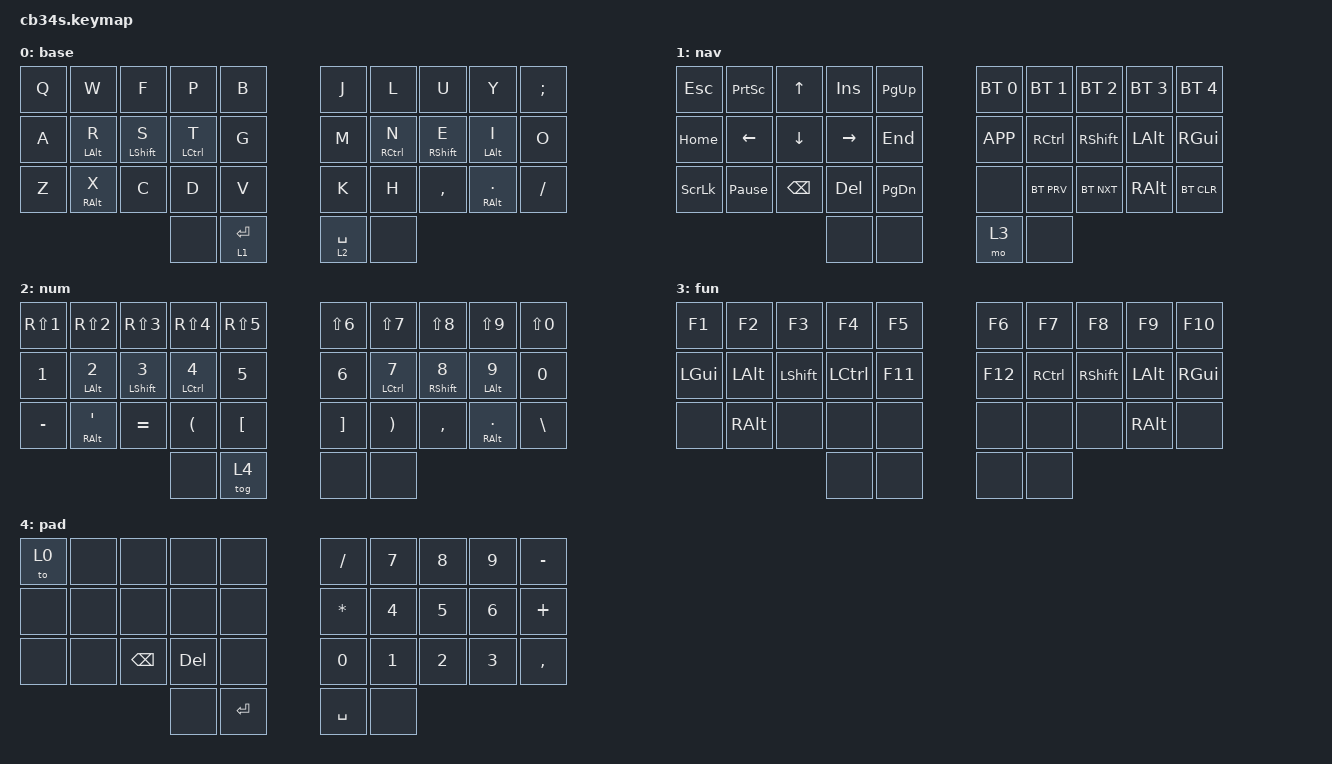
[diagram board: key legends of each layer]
/*
 * Copyright (c) 2020 The ZMK Contributors
 *
 * SPDX-License-Identifier: MIT
 */

#include <behaviors.dtsi>
#include <dt-bindings/zmk/keys.h>
#include <dt-bindings/zmk/bt.h>


// Using layer taps on thumbs, having quick tap as well helps w/ repeating space/backspace

&lt {
    quick_tap_ms = <200>;
};

// Sticky Layer Behavior - release sticky behavior after x ms

/*&sk {
    release-after-ms = <1800>;
};
*/

    // BEHAVIOR    
    // ===========================================================================================================

/ {
    behaviors {
        bhm: balanced_homerow_mods {
            compatible = "zmk,behavior-hold-tap";
            label = "HOMEROW_MODS";
            #binding-cells = <2>;
            tapping-term-ms = <150>;
            quick-tap-ms = <0>;
            flavor = "balanced";
            bindings = <&kp>, <&kp>;
        };
        hmls: homerow_mod_lshift {
            compatible = "zmk,behavior-hold-tap";
            label = "HOMEROW_MODS";
            #binding-cells = <2>;
            tapping-term-ms = <150>;
            quick-tap-ms = <0>;
            flavor = "balanced";
            hold-trigger-key-positions = <5 6 7 8 9 15 16 17 18 19 25 26 27 28 29>;
            bindings = <&kp>, <&kp>;
        };
        hmrs: homerow_mod_rshift {
            compatible = "zmk,behavior-hold-tap";
            label = "HOMEROW_MODS";
            #binding-cells = <2>;
            tapping-term-ms = <150>;
            quick-tap-ms = <0>;
            flavor = "balanced";
            hold-trigger-key-positions = <0 1 2 3 4 10 11 12 13 14 20 21 22 23 24>;
            bindings = <&kp>, <&kp>;
        };
        hmg: homerow_mod_gui {
            compatible = "zmk,behavior-hold-tap";
            label = "HOMEROW_MODS";
            #binding-cells = <2>;
            tapping-term-ms = <500>;
            quick-tap-ms = <0>;
            flavor = "balanced";
            bindings = <&kp>, <&kp>;
        };
        hmla: homerow_mod_lalt {
            compatible = "zmk,behavior-hold-tap";
            label = "HOMEROW_MODS";
            #binding-cells = <2>;
            tapping-term-ms = <400>;
            quick-tap-ms = <0>;
            flavor = "balanced";
            bindings = <&kp>, <&kp>;
        };
        hmra: homerow_mod_ralt {
            compatible = "zmk,behavior-hold-tap";
            label = "HOMEROW_MODS";
            #binding-cells = <2>;
            tapping-term-ms = <800>;
            quick-tap-ms = <0>;
            flavor = "tap-preferred";
            bindings = <&kp>, <&kp>;
        };
    };
};

// MACROS
// ===========================================================================================================
/*
	.----------------------------------------------------------------------.
	|  0  |  1  |  2  |  3  |  4  |          |  5  |  6  |  7  |  8  |  9  |
	|  10 |  11 |  12 |  13 |  14 |          |  15 |  16 |  17 |  18 |  19 |
	|  20 |  21 |  22 |  23 |  24 |          |  25 |  26 |  27 |  28 |  29 |
	'-----------------\  30 |  31 |          |  32 |  33 /-----------------'
	                   '--------------------------------'

*/


// COMBOS
// ===========================================================================================================
/*
	.----------------------------------------------------------------------.
	|  0  |  1  |  2  |  3  |  4  |          |  5  |  6  |  7  |  8  |  9  |
	|  10 |  11 |  12 |  13 |  14 |          |  15 |  16 |  17 |  18 |  19 |
	|  20 |  21 |  22 |  23 |  24 |          |  25 |  26 |  27 |  28 |  29 |
	'-----------------\  30 |  31 |          |  32 |  33 /-----------------'
	                   '--------------------------------'
			
	ESC 	= 0 | 1			
	TAB 	= 11 | 12		LC(C)	= 17 | 18
							LC(V)	= 27 | 28
	ENTER 	= 12 | 13		SK(SFT) = 16 | 17       
	LPAR 	= 13 | 14		RPAR 	= 15 | 16       REPEAT 	= 18 | 19

	TO_4	= 21 | 22
	TO_0	= 22 | 23       TO_0	= 26 | 27 
	TO_3	= 20 | 21 | 22	TO_3	= 27 | 28 | 29
    TO_5    = 3  | 13       TO_5    = 6  | 16

*/


/ {
    combos {
        compatible = "zmk,combos";

        Cmb_UmlA {
            bindings = <&kp RA(Q)>;
            key-positions = <0 10>;
            layers = <0>;
        };

        Cmb_UmlO {
            bindings = <&kp RA(P)>;
            key-positions = <9 19>;
            layers = <0>;
        };

        Cmb_UmlU {
            bindings = <&kp RA(Y)>;
            key-positions = <7 17>;
            layers = <0>;
        };

        Cmb_UmlS {
            bindings = <&kp RA(S)>;
            key-positions = <2 12>;
            layers = <0>;
        };

        Cmb_EUR {
            bindings = <&kp RA(N5)>;
            key-positions = <17 27>;
            layers = <0>;
        };

        Cmb_DQT {
            bindings = <&kp RA(N5)>;
            key-positions = <1 11>;
            layers = <0>;
        };

        Cmb_Grave {
            bindings = <&kp GRAVE>;
            key-positions = <11 21>;
            layers = <2>;
        };

        Cmb_LSFT {
            bindings = <&kp LSHFT>;
            key-positions = <12 13>;
            layers = <0 2 3>;
        };

        Cmb_RSFT {
            bindings = <&kp RSHFT>;
            key-positions = <16 17>;
            layers = <0 1 2 3>;
        };

        Cmb_LGUI {
            bindings = <&kp LGUI>;
            key-positions = <10 20>;
            layers = <0 2>;
        };

        Cmb_RGUI {
            bindings = <&kp RGUI>;
            key-positions = <19 29>;
            layers = <0 2>;
        };

        Cmb_ESC {
            bindings = <&kp ESC>;
            key-positions = <0 1>;
            layers = <0 1 2 3 4>;
        };

        Cmb_TAB {
            bindings = <&kp TAB>;
            key-positions = <22 23>;
            layers = <0 1 2 4>;
        };

        Cmb_CLCK {
            bindings = <&kp CLCK>;
            key-positions = <12 13 16 17>;
            layers = <1>;
        };

        Cmb_CLCKs {
            bindings = <&kp CLCK>;
            key-positions = <11 12 13>;
            layers = <1>;
        };

        Cmb_BSPC {
            bindings = <&kp BSPC>;
            key-positions = <26 27>;
            layers = <0 2 4>;
        };

        Cmb_DEL {
            bindings = <&kp DEL>;
            key-positions = <27 28>;
            layers = <0 2 4>;
        };

        Cmb_CtrlBSPC {
            bindings = <&kp LC(BSPC)>;
            key-positions = <26 27 28>;
            layers = <0 2>;
        };

        Cmb_CtrlDEL {
            bindings = <&kp LC(DEL)>;
            key-positions = <27 28 29>;
            layers = <0 2>;
        };

        Cmb_WordLeft {
            bindings = <&kp LC(LEFT)>;
            key-positions = <11 12>;
            layers = <1>;
        };

        Cmb_WordRight {
            bindings = <&kp LC(RIGHT)>;
            key-positions = <12 13>;
            layers = <1>;
        };

        Cmb_Cut {
            bindings = <&kp LC(X)>;
            key-positions = <20 21>;
            layers = <0>;
        };

        Cmb_Copy {
            bindings = <&kp LC(C)>;
            key-positions = <21 22>;
            layers = <0>;
        };

        Cmb_Paste {
            bindings = <&kp LC(V)>;
            key-positions = <22 24>;
            layers = <0>;
        };

        Cmb_Reset {
            bindings = <&bootloader>;
            key-positions = <11 12 13>;
            layers = <4>;
        };
    };


    // KEYMAP
    // ===========================================================================================================
    // -----------------------------------------------------------------------------
    /* 0 = Default
        .----------------------------------------------------------------------.
        |  Q  |  W  |  F  |  P  |  B  |          |  J  |  L  |  U  |  Y  |  :  |
        |  A  |  R  |  S  |  T  |  G  |          |  M  |  N  |  E  |  I  |  O  |
        |  Z  |  X  |  C  |  D  |  V  |          |  K  |  H  |  ,  |  .  |  / |
        '-----------------\ BSPC| RET |          | SPC | DEL /-----------------'
                           '--------------------------------'
    */
    keymap {
        compatible = "zmk,keymap";

        base {
            label = "base";
            bindings = <
        &kp Q  &kp W         &kp F          &kp P         &kp B        &kp J        &kp L         &kp U          &kp Y           &kp SEMI
        &kp A  &hmla LALT R  &hmls LSHFT S  &bhm LCTRL T  &kp G        &kp M        &bhm RCTRL N  &hmrs RSHFT E  &hmla LALT I    &kp O
		&kp Z  &hmra RALT X  &kp C          &kp D         &kp V        &kp K        &kp H         &kp COMMA      &hmra RALT DOT  &kp FSLH
                                            &none         &lt 1 RET    &lt 2 SPACE  &none
            >;
        };

        nav {
            label = "nav";
            bindings = <
        &kp ESC   &kp PSCRN        &kp UP    &kp INS    &kp PG_UP    &bt BT_SEL 0  &bt BT_SEL 1  &bt BT_SEL 2  &bt BT_SEL 3  &bt BT_SEL 4
        &kp HOME  &kp LEFT         &kp DOWN  &kp RIGHT  &kp END      &kp K_APP     &kp RCTRL     &kp RSHFT     &kp LALT      &kp RGUI
		&kp SLCK  &kp PAUSE_BREAK  &kp BSPC  &kp DEL    &kp PG_DN    &none         &bt BT_PRV    &bt BT_NXT    &kp RALT      &bt BT_CLR
                                             &none      &none        &mo 3         &none
            >;
        };

        num {
            label = "num";
            bindings = <
        &kp RS(N1)  &kp RS(N2)      &kp RS(N3)      &kp RS(N4)     &kp RS(N5)    &kp LS(N6)  &kp LS(N7)     &kp LS(N8)      &kp LS(N9)      &kp LS(N0)
        &kp N1      &hmla LALT N2   &hmls LSHFT N3  &bhm LCTRL N4  &kp N5        &kp N6      &bhm LCTRL N7  &hmrs RSHFT N8  &hmla LALT N9   &kp N0
		&kp MINUS   &hmra RALT SQT  &kp EQUAL       &kp LPAR       &kp LBKT      &kp RBKT    &kp RPAR       &kp COMMA       &hmra RALT DOT  &kp BSLH
                                                    &none          &tog 4        &none       &none
            >;
        };

        fun {
            label = "fun";
            bindings = <
        &kp F1    &kp F2    &kp F3     &kp F4     &kp F5     &kp F6   &kp F7     &kp F8     &kp F9    &kp F10
        &kp LGUI  &kp LALT  &kp LSHFT  &kp LCTRL  &kp F11    &kp F12  &kp RCTRL  &kp RSHFT  &kp LALT  &kp RGUI
		&none     &kp RALT  &none      &none      &none      &none    &none      &none      &kp RALT  &none
                                       &none      &none      &none    &none
            >;
        };

        pad {
            label = "pad";
            bindings = <
		&to 0  &none  &none     &none    &none      &kp FSLH   &kp N7   &kp N8  &kp N9  &kp MINUS
        &none  &none  &none     &none    &none      &kp STAR   &kp N4   &kp N5  &kp N6  &kp PLUS
		&none  &none  &kp BSPC  &kp DEL  &none      &kp N0     &kp N1   &kp N2  &kp N3  &kp COMMA
                                &none    &kp RET    &kp SPACE  &none
            >;
        };
    };
};

// ===========================================================================================================
